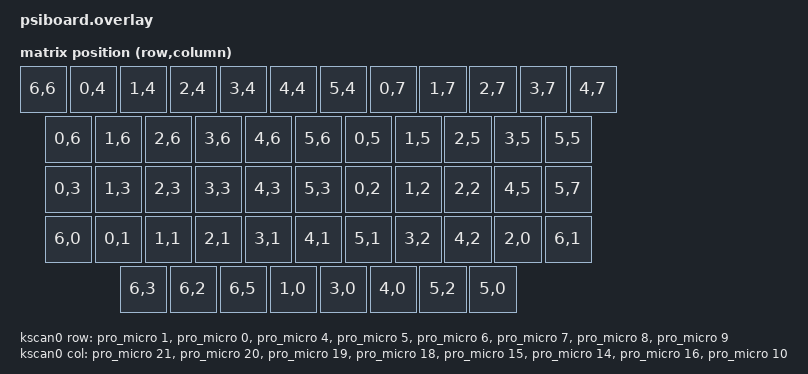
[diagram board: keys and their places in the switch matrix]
#include <dt-bindings/zmk/matrix_transform.h>

/ {
    chosen {
        zmk,kscan = &kscan0;
        zmk,matrix_transform = &default_transform;
    };

    kscan0: kscan_0 {
        compatible = "zmk,kscan-gpio-matrix";
        label = "KSCAN";
        diode-direction = "col2row";

        col-gpios
            = <&pro_micro 21 GPIO_ACTIVE_HIGH>
            , <&pro_micro 20 GPIO_ACTIVE_HIGH>
            , <&pro_micro 19 GPIO_ACTIVE_HIGH>
            , <&pro_micro 18 GPIO_ACTIVE_HIGH>
            , <&pro_micro 15 GPIO_ACTIVE_HIGH>
            , <&pro_micro 14 GPIO_ACTIVE_HIGH>
            , <&pro_micro 16 GPIO_ACTIVE_HIGH>
            , <&pro_micro 10 GPIO_ACTIVE_HIGH>
            ;

        row-gpios
            = <&pro_micro 1 (GPIO_ACTIVE_HIGH | GPIO_PULL_DOWN)>
            , <&pro_micro 0 (GPIO_ACTIVE_HIGH | GPIO_PULL_DOWN)>
            , <&pro_micro 4 (GPIO_ACTIVE_HIGH | GPIO_PULL_DOWN)>
            , <&pro_micro 5 (GPIO_ACTIVE_HIGH | GPIO_PULL_DOWN)>
            , <&pro_micro 6 (GPIO_ACTIVE_HIGH | GPIO_PULL_DOWN)>
            , <&pro_micro 7 (GPIO_ACTIVE_HIGH | GPIO_PULL_DOWN)>
            , <&pro_micro 8 (GPIO_ACTIVE_HIGH | GPIO_PULL_DOWN)>
            , <&pro_micro 9 (GPIO_ACTIVE_HIGH | GPIO_PULL_DOWN)>
            ;
    };

    default_transform: matrix_transform {
        compatible = "zmk,matrix-transform";
        columns = <12>;
        rows = <5>;
        // ┌─────┬─────┬─────┬─────┬─────┬─────┬─────┬─────┬─────┬─────┬─────┬─────┐
        // │ Esc │  1  │  2  │  3  │  4  │  5  │  6  │  7  │  8  │  9  │  0  │ Del │
        // └──┬──┴──┬──┴──┬──┴──┬──┴──┬──┴──┬──┴──┬──┴──┬──┴──┬──┴──┬──┴──┬──┴─────┤
        //    │  Q  │  W  │  E  │  R  │  T  │  Y  │  U  │  I  │  O  │  P  │   Ent  │
        // ┌──┴──┬──┴──┬──┴──┬──┴──┬──┴──┬──┴──┬──┴──┬──┴──┬──┴──┬──┴──┬──┴──┐     │
        // │ Tab │  A  │  S  │  D  │  F  │  G  │  H  │  J  │  K  │  L  │ ' ~ │     │
        // └──┬──┴──┬──┴──┬──┴──┬──┴──┬──┴──┬──┴──┬──┴──┬──┴──┬──┴──┬──┴──┬──┴──┬──┘
        //    │ Sft │  Z  │  X  │  C  │  V  │  B  │  N  │  M  │ . ? │ Up  │ Sft │
        //    ├─────┼─────┼─────┼─────┴─────┴─────┴─────┼─────┼─────┼─────┼─────┤
        //    │ Ctl │ Fn  │ Mnu │         Space         │ , / │ Lft │ Dwn │ Rgt │
        //    └─────┴─────┴─────┴───────────────────────┴─────┴─────┴─────┴─────┘
        map = <
        
        // Esc      1        2        3        4        5        6        7        8        9        0        Del        
           RC(6,6)  RC(0,4)  RC(1,4)  RC(2,4)  RC(3,4)  RC(4,4)  RC(5,4)  RC(0,7)  RC(1,7)  RC(2,7)  RC(3,7)  RC(4,7)

        //     Q        W        E        R        T        Y        U        I        O        P        Ent
               RC(0,6)  RC(1,6)  RC(2,6)  RC(3,6)  RC(4,6)  RC(5,6)  RC(0,5)  RC(1,5)  RC(2,5)  RC(3,5)  RC(5,5)

        // Tab      A        S        D        F        G        H        J        K        L        ' ~
           RC(0,3)  RC(1,3)  RC(2,3)  RC(3,3)  RC(4,3)  RC(5,3)  RC(0,2)  RC(1,2)  RC(2,2)  RC(4,5)  RC(5,7)

        //     L. Sft   Z        X        C        V        B        N        M        ?        Up       R. Sft
               RC(6,0)  RC(0,1)  RC(1,1)  RC(2,1)  RC(3,1)  RC(4,1)  RC(5,1)  RC(3,2)  RC(4,2)  RC(2,0)  RC(6,1)

        //     L. Ctl   Fn       Mnu                    Space                 , /      Lft      Dwn      Rgt
               RC(6,3)  RC(6,2)  RC(6,5)                RC(1,0)               RC(3,0)  RC(4,0)  RC(5,2)  RC(5,0)
      >;
    };

};
